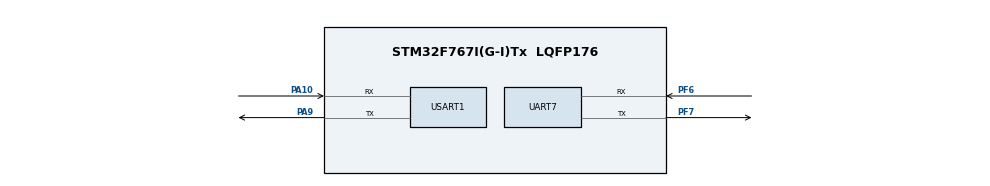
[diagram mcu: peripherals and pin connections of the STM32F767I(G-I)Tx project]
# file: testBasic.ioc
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Dma.Request0=USART1_RX
Dma.Request1=UART7_RX
Dma.UART7_RX.1.Direction=DMA_PERIPH_TO_MEMORY
Dma.UART7_RX.1.FIFOMode=DMA_FIFOMODE_DISABLE
Dma.UART7_RX.1.Instance=DMA1_Stream3
Dma.UART7_RX.1.MemDataAlignment=DMA_MDATAALIGN_BYTE
Dma.UART7_RX.1.MemInc=DMA_MINC_ENABLE
Dma.UART7_RX.1.Mode=DMA_CIRCULAR
Dma.UART7_RX.1.PeriphDataAlignment=DMA_PDATAALIGN_BYTE
Dma.UART7_RX.1.PeriphInc=DMA_PINC_DISABLE
Dma.UART7_RX.1.Priority=DMA_PRIORITY_LOW
Dma.USART1_RX.0.Direction=DMA_PERIPH_TO_MEMORY
Dma.USART1_RX.0.FIFOMode=DMA_FIFOMODE_DISABLE
Dma.USART1_RX.0.Instance=DMA2_Stream2
Dma.USART1_RX.0.MemDataAlignment=DMA_MDATAALIGN_BYTE
Dma.USART1_RX.0.MemInc=DMA_MINC_ENABLE
Dma.USART1_RX.0.Mode=DMA_CIRCULAR
Dma.USART1_RX.0.PeriphDataAlignment=DMA_PDATAALIGN_BYTE
Dma.USART1_RX.0.PeriphInc=DMA_PINC_DISABLE
Dma.USART1_RX.0.Priority=DMA_PRIORITY_VERY_HIGH
Mcu.Family=STM32F7
Mcu.Name=STM32F767I(G-I)Tx
Mcu.Package=LQFP176
NVIC.DMA1_Stream3_IRQn=true\:0\:0\:false\:false\:true\:false\:true\:true
NVIC.DMA2_Stream2_IRQn=true\:0\:0\:false\:false\:true\:false\:true\:true
NVIC.PriorityGroup=NVIC_PRIORITYGROUP_4
NVIC.TIM1_UP_TIM10_IRQn=true\:0\:0\:false\:false\:true\:true\:true\:true
NVIC.UART7_IRQn=true\:5\:0\:true\:false\:true\:true\:true\:true
NVIC.USART1_IRQn=true\:0\:0\:false\:false\:true\:true\:true\:true
PA10.Mode=Asynchronous
PA10.Signal=USART1_RX
PA13.Mode=Serial_Wire
PA13.Signal=SYS_JTMS-SWDIO
PA14.Mode=Serial_Wire
PA14.Signal=SYS_JTCK-SWCLK
PA9.Mode=Asynchronous
PA9.Signal=USART1_TX
PF6.Mode=Asynchronous
PF6.Signal=UART7_RX
PF7.Mode=Asynchronous
PF7.Signal=UART7_TX
PH0/OSC_IN.Mode=HSE-External-Oscillator
PH0/OSC_IN.Signal=RCC_OSC_IN
PH1/OSC_OUT.Mode=HSE-External-Oscillator
PH1/OSC_OUT.Signal=RCC_OSC_OUT
ProjectManager.HeapSize=0x200
ProjectManager.StackSize=0x400
ProjectManager.TargetToolchain=MDK-ARM V5.32
RCC.AHBFreq_Value=216000000
RCC.APB1CLKDivider=RCC_HCLK_DIV4
RCC.APB1Freq_Value=54000000
RCC.APB1TimFreq_Value=108000000
RCC.APB2CLKDivider=RCC_HCLK_DIV2
RCC.APB2Freq_Value=108000000
RCC.APB2TimFreq_Value=216000000
RCC.CortexFreq_Value=216000000
RCC.HCLKFreq_Value=216000000
RCC.HSE_VALUE=25000000
RCC.HSI_VALUE=16000000
RCC.LSE_VALUE=32768
RCC.PLLM=8
RCC.PLLN=216
RCC.SYSCLKFreq_VALUE=216000000
RCC.SYSCLKSource=RCC_SYSCLKSOURCE_PLLCLK
RCC.USBFreq_Value=216000000
RCC.VCOOutputFreq_Value=432000000
TIM1.Period=2000
TIM1.Prescaler=10799
USART1.VirtualMode-Asynchronous=VM_ASYNC
VP_TIM1_VS_ClockSourceINT.Mode=Internal
board=custom

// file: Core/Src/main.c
/* USER CODE BEGIN Header */
/**
 ******************************************************************************
 * @file           : main.c
 * @brief          : Main program body
 ******************************************************************************
 * @attention
 *
 * Copyright (c) 2023 STMicroelectronics.
 * All rights reserved.
 *
 * This software is licensed under terms that can be found in the LICENSE file
 * in the root directory of this software component.
 * If no LICENSE file comes with this software, it is provided AS-IS.
 *
 ******************************************************************************
 */
/* USER CODE END Header */
#include "main.h"
#include "dma.h"
#include "tim.h"
#include "usart.h"
#include "gpio.h"

/* USER CODE BEGIN Includes */
#include "stdlib.h"
/* USER CODE END Includes */

/* USER CODE BEGIN PV */
extern volatile USART_Token_t USART1_Token;
extern volatile USART_Token_t UART7_Token;
extern volatile uint8_t U7_RX_BUF[BUF_MAXLEN];
/* USER CODE END PV */

void SystemClock_Config(void);

/* USER CODE BEGIN 0 */
uint8_t *msg = NULL;
uint8_t *msg2 = NULL;
/* USER CODE END 0 */

int main(void)
{

  /* MCU Configuration--------------------------------------------------------*/

  /* Reset of all peripherals, Initializes the Flash interface and the Systick. */
  LL_APB1_GRP1_EnableClock(LL_APB1_GRP1_PERIPH_PWR);
  LL_APB2_GRP1_EnableClock(LL_APB2_GRP1_PERIPH_SYSCFG);

  /* System interrupt init*/
  NVIC_SetPriorityGrouping(NVIC_PRIORITYGROUP_4);

  /* SysTick_IRQn interrupt configuration */
  NVIC_SetPriority(SysTick_IRQn, NVIC_EncodePriority(NVIC_GetPriorityGrouping(),15, 0));

  /* Configure the system clock */
  SystemClock_Config();

  /* Initialize all configured peripherals */
  MX_GPIO_Init();
  MX_DMA_Init();
  MX_USART1_UART_Init();
  MX_UART7_Init();
  MX_TIM1_Init();
  /* USER CODE BEGIN 2 */
  USART_FSM_Init();
  /* USER CODE END 2 */

  /* Infinite loop */
  while (1)
  {

    /* USER CODE BEGIN 3 */
    debug("Testing stm32f767igt6");
    if (USART1_Token.Is_Msg_Rcv)
    {
      USART1_Token.Is_Msg_Rcv = false;
      USART1_Token.Rcv_len_Temp=0;
      debug("Received from wifi:\nmessage length:%d\n", USART1_Token.Rcv_len_Temp);
      if (lwrb_get_full((lwrb_t *)&USART1_Token.lwrb_handle))
      {
        msg = (uint8_t *)malloc(USART1_Token.Rcv_len_Temp);
        lwrb_read((lwrb_t *)&USART1_Token.lwrb_handle, msg, USART1_Token.Rcv_len_Temp);
        debug("");
        debug("Message from wifi in hex:");
        for (size_t i = 0; i < USART1_Token.Rcv_len_Temp; i++)
        {
          printf("%.2x ", msg[i]);
        }
        printf("\n");
        // excute message
        // modbus_recvMsg(&USART_ACT, msg, USART1_Token.Rcv_len_Temp);
        // USART_ACT.USART_Clear(USART1);
        free(msg);
        msg = NULL;
      }
    }
    if (UART7_Token.Is_Msg_Rcv)
    {
      UART7_Token.Is_Msg_Rcv = false;
      debug("Received from debug:\nmessage length:%d\n", UART7_Token.Rcv_len_Temp);
      if (lwrb_get_full((lwrb_t *)&UART7_Token.lwrb_handle))
      {
        msg2 = (uint8_t *)malloc(UART7_Token.Rcv_len_Temp);
        lwrb_read((lwrb_t *)&UART7_Token.lwrb_handle, msg2, UART7_Token.Rcv_len_Temp);
        debug("Message from debug in hex:");
        for (size_t i = 0; i < UART7_Token.Rcv_len_Temp; i++)
        {
          printf("%.2x ", msg2[i]);
        }
        printf("\n");
        // excute message
        // modbus_recvMsg(&USART_ACT, msg2, UART7_Token.Rcv_len_Temp);
        // USART_ACT.USART_Clear(USART1);
        free(msg2);
        msg2 = NULL;
      }
    }

    LL_mDelay(1000);
  }
  /* USER CODE END 3 */
}

void SystemClock_Config(void)
{
  LL_FLASH_SetLatency(LL_FLASH_LATENCY_7);
  while(LL_FLASH_GetLatency()!= LL_FLASH_LATENCY_7)
  {
  }
  LL_PWR_SetRegulVoltageScaling(LL_PWR_REGU_VOLTAGE_SCALE1);
  LL_PWR_EnableOverDriveMode();
  LL_RCC_HSI_SetCalibTrimming(16);
  LL_RCC_HSI_Enable();

   /* Wait till HSI is ready */
  while(LL_RCC_HSI_IsReady() != 1)
  {

  }
  LL_RCC_PLL_ConfigDomain_SYS(LL_RCC_PLLSOURCE_HSI, LL_RCC_PLLM_DIV_8, 216, LL_RCC_PLLP_DIV_2);
  LL_RCC_PLL_Enable();

   /* Wait till PLL is ready */
  while(LL_RCC_PLL_IsReady() != 1)
  {

  }
  while (LL_PWR_IsActiveFlag_VOS() == 0)
  {
  }
  LL_RCC_SetAHBPrescaler(LL_RCC_SYSCLK_DIV_1);
  LL_RCC_SetAPB1Prescaler(LL_RCC_APB1_DIV_4);
  LL_RCC_SetAPB2Prescaler(LL_RCC_APB2_DIV_2);
  LL_RCC_SetSysClkSource(LL_RCC_SYS_CLKSOURCE_PLL);

   /* Wait till System clock is ready */
  while(LL_RCC_GetSysClkSource() != LL_RCC_SYS_CLKSOURCE_STATUS_PLL)
  {

  }
  LL_Init1msTick(216000000);
  LL_SetSystemCoreClock(216000000);
}

void Error_Handler(void)
{
  __disable_irq();
  while (1)
  {
  }
}
